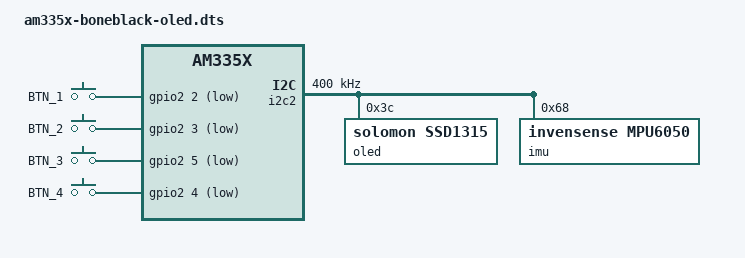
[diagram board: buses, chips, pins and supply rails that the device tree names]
// SPDX-License-Identifier: GPL-2.0
/*
 * Copyright (C) 2026 Yassine El H. @yassineflag
 *
 * BeagleBone Black + SSD1315 OLED + MPU6050 IMU + 4 push buttons.
 *
 * Built as a full board DTB on top of the upstream am335x-boneblack.dts,
 * so no overlay support (dtc -@, U-Boot fdt apply) is needed.
 *
 * I2C2 (P9.19 SCL, P9.20 SDA, already muxed by am335x-bone-common.dtsi):
 *   0x3c  SSD1315 OLED (0x3d if SA0 is high)
 *   0x68  MPU6050 IMU  (0x69 if AD0 is high)
 *   0x54..0x57 cape EEPROMs from the base tree, left untouched
 *
 * Buttons, active low, internal pull up, other leg to GND (P8.1 / P8.2):
 *   BTN_1  P8.7   gpmc_advn_ale  gpio2_2
 *   BTN_2  P8.8   gpmc_oen_ren   gpio2_3
 *   BTN_3  P8.9   gpmc_be0n_cle  gpio2_5
 *   BTN_4  P8.10  gpmc_wen       gpio2_4
 */

#include "am335x-boneblack.dts"
#include <dt-bindings/gpio/gpio.h>
#include <dt-bindings/input/input.h>

&am33xx_pinmux {
	button_pins: button-pins {
		pinctrl-single,pins = <
			AM33XX_PADCONF(AM335X_PIN_GPMC_ADVN_ALE, PIN_INPUT_PULLUP, MUX_MODE7)	/* P8.7  gpio2_2 */
			AM33XX_PADCONF(AM335X_PIN_GPMC_OEN_REN, PIN_INPUT_PULLUP, MUX_MODE7)	/* P8.8  gpio2_3 */
			AM33XX_PADCONF(AM335X_PIN_GPMC_BEN0_CLE, PIN_INPUT_PULLUP, MUX_MODE7)	/* P8.9  gpio2_5 */
			AM33XX_PADCONF(AM335X_PIN_GPMC_WEN, PIN_INPUT_PULLUP, MUX_MODE7)	/* P8.10 gpio2_4 */
		>;
	};
};

&i2c2 {
	/* Base tree runs the bus at 100 kHz. All devices here support 400 kHz */
	clock-frequency = <400000>;

	oled@3c {
		compatible = "solomon,ssd1315";
		reg = <0x3c>;
	};

	imu@68 {
		compatible = "invensense,mpu6050";
		reg = <0x68>;
		/*
		 * Optional INT wiring, for example on P9.12 (gpio1_28):
		 *   interrupt-parent = <&gpio1>;
		 *   interrupts = <28 IRQ_TYPE_EDGE_RISING>;
		 * plus a MUX_MODE7 input entry in a pinctrl group.
		 */
	};
};

/ {
	gpio-buttons {
		compatible = "gpio-keys";
		label = "bbb-gpio-buttons";
		pinctrl-names = "default";
		pinctrl-0 = <&button_pins>;

		button-1 {
			label = "BTN_1";
			linux,code = <BTN_0>;
			gpios = <&gpio2 2 GPIO_ACTIVE_LOW>;
			debounce-interval = <20>;
		};

		button-2 {
			label = "BTN_2";
			linux,code = <BTN_1>;
			gpios = <&gpio2 3 GPIO_ACTIVE_LOW>;
			debounce-interval = <20>;
		};

		button-3 {
			label = "BTN_3";
			linux,code = <BTN_2>;
			gpios = <&gpio2 5 GPIO_ACTIVE_LOW>;
			debounce-interval = <20>;
		};

		button-4 {
			label = "BTN_4";
			linux,code = <BTN_3>;
			gpios = <&gpio2 4 GPIO_ACTIVE_LOW>;
			debounce-interval = <20>;
		};
	};
};
